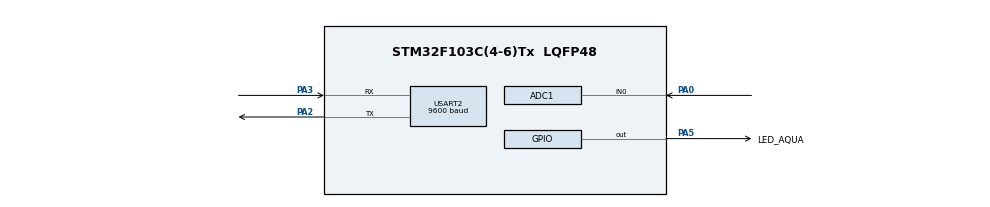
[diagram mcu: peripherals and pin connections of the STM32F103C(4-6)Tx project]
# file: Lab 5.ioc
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ADC1.Channel-0\#ChannelRegularConversion=ADC_CHANNEL_0
ADC1.ContinuousConvMode=ENABLE
ADC1.NbrOfConversionFlag=1
ADC1.Rank-0\#ChannelRegularConversion=1
ADC1.SamplingTime-0\#ChannelRegularConversion=ADC_SAMPLETIME_1CYCLE_5
ADC1.master=1
Mcu.Family=STM32F1
Mcu.Name=STM32F103C(4-6)Tx
Mcu.Package=LQFP48
NVIC.PriorityGroup=NVIC_PRIORITYGROUP_4
NVIC.USART2_IRQn=true\:0\:0\:false\:false\:true\:true\:true\:true
PA0-WKUP.Signal=ADCx_IN0
PA2.Mode=Asynchronous
PA2.Signal=USART2_TX
PA3.Mode=Asynchronous
PA3.Signal=USART2_RX
PA5.GPIO_Label=LED_AQUA
PA5.Signal=GPIO_Output
ProjectManager.HeapSize=0x200
ProjectManager.StackSize=0x400
ProjectManager.TargetToolchain=STM32CubeIDE
RCC.APB1Freq_Value=8000000
RCC.APB2Freq_Value=8000000
SH.ADCx_IN0.0=ADC1_IN0,IN0
USART2.BaudRate=9600
USART2.VirtualMode=VM_ASYNC
VP_SYS_VS_ND.Mode=No_Debug
board=custom

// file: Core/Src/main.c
/* USER CODE BEGIN Header */
/**
  ******************************************************************************
  * @file           : main.c
  * @brief          : Main program body
  ******************************************************************************
  * @attention
  *
  * Copyright (c) 2025 STMicroelectronics.
  * All rights reserved.
  *
  * This software is licensed under terms that can be found in the LICENSE file
  * in the root directory of this software component.
  * If no LICENSE file comes with this software, it is provided AS-IS.
  *
  ******************************************************************************
  */
/* USER CODE END Header */
#include "main.h"

/* USER CODE BEGIN Includes */

#include <string.h>
#include <stdio.h>
#include "cmd_handler.h"

/* USER CODE END Includes */

/* USER CODE BEGIN PD */

#define MAX_BUFFER_SIZE 30

/* USER CODE END PD */

ADC_HandleTypeDef hadc1;

UART_HandleTypeDef huart2;

/* USER CODE BEGIN PV */
// Initialize local variables
uint8_t temp = 0;                      // Variable for UART data reception
uint8_t buffer[MAX_BUFFER_SIZE];       // Buffer for received data
uint8_t index_buffer = 0;              // Index for the received data
uint8_t buffer_flag = 0;               // Flag indicating new data in buffer

/* USER CODE END PV */

void SystemClock_Config(void);
static void MX_GPIO_Init(void);
static void MX_ADC1_Init(void);
static void MX_USART2_UART_Init(void);
/* USER CODE BEGIN PFP */

void sys_init(void);

/* USER CODE END PFP */

/* USER CODE BEGIN 0 */

void sys_init(void) {
	HAL_GPIO_WritePin(LED_AQUA_GPIO_Port, LED_AQUA_Pin, GPIO_PIN_SET);
}

void HAL_UART_RxCpltCallback(UART_HandleTypeDef *huart) {
    if (huart->Instance == USART2) {
        HAL_UART_Transmit(&huart2, &temp, 1, 100);  // Echo back received character
        buffer[index_buffer++] = temp;  // Store received character into buffer
        if (index_buffer >= MAX_BUFFER_SIZE) {
            index_buffer = 0;  // Avoid buffer overflow
        }

        buffer_flag = 1;  // Indicate that new data is available
        HAL_UART_Receive_IT(&huart2, &temp, 1);  // Continue receiving data
    }
}

/* USER CODE END 0 */

int main(void)
{

  /* MCU Configuration--------------------------------------------------------*/

  /* Reset of all peripherals, Initializes the Flash interface and the Systick. */
  HAL_Init();

  /* Configure the system clock */
  SystemClock_Config();

  /* Initialize all configured peripherals */
  MX_GPIO_Init();
  MX_ADC1_Init();
  MX_USART2_UART_Init();
  /* USER CODE BEGIN 2 */
  HAL_ADC_Start(&hadc1);
  HAL_UART_Receive_IT(&huart2, &temp, 1);
  /* USER CODE END 2 */

  /* Infinite loop */
  /* USER CODE BEGIN WHILE */
  sys_init();
  while (1)
  {
    /* USER CODE END WHILE */

    /* USER CODE BEGIN 3 */
	  if(buffer_flag == 1){
		  command_parser_fsm();
		  buffer_flag = 0;
	  }

	  uart_communication_fsm();
  }
  /* USER CODE END 3 */
}

void SystemClock_Config(void)
{
  RCC_OscInitTypeDef RCC_OscInitStruct = {0};
  RCC_ClkInitTypeDef RCC_ClkInitStruct = {0};
  RCC_PeriphCLKInitTypeDef PeriphClkInit = {0};

  /** Initializes the RCC Oscillators according to the specified parameters
  * in the RCC_OscInitTypeDef structure.
  */
  RCC_OscInitStruct.OscillatorType = RCC_OSCILLATORTYPE_HSI;
  RCC_OscInitStruct.HSIState = RCC_HSI_ON;
  RCC_OscInitStruct.HSICalibrationValue = RCC_HSICALIBRATION_DEFAULT;
  RCC_OscInitStruct.PLL.PLLState = RCC_PLL_NONE;
  if (HAL_RCC_OscConfig(&RCC_OscInitStruct) != HAL_OK)
  {
    Error_Handler();
  }

  /** Initializes the CPU, AHB and APB buses clocks
  */
  RCC_ClkInitStruct.ClockType = RCC_CLOCKTYPE_HCLK|RCC_CLOCKTYPE_SYSCLK
                              |RCC_CLOCKTYPE_PCLK1|RCC_CLOCKTYPE_PCLK2;
  RCC_ClkInitStruct.SYSCLKSource = RCC_SYSCLKSOURCE_HSI;
  RCC_ClkInitStruct.AHBCLKDivider = RCC_SYSCLK_DIV1;
  RCC_ClkInitStruct.APB1CLKDivider = RCC_HCLK_DIV1;
  RCC_ClkInitStruct.APB2CLKDivider = RCC_HCLK_DIV1;

  if (HAL_RCC_ClockConfig(&RCC_ClkInitStruct, FLASH_LATENCY_0) != HAL_OK)
  {
    Error_Handler();
  }
  PeriphClkInit.PeriphClockSelection = RCC_PERIPHCLK_ADC;
  PeriphClkInit.AdcClockSelection = RCC_ADCPCLK2_DIV2;
  if (HAL_RCCEx_PeriphCLKConfig(&PeriphClkInit) != HAL_OK)
  {
    Error_Handler();
  }
}

static void MX_ADC1_Init(void)
{

  ADC_ChannelConfTypeDef sConfig = {0};

  /** Common config
  */
  hadc1.Instance = ADC1;
  hadc1.Init.ScanConvMode = ADC_SCAN_DISABLE;
  hadc1.Init.ContinuousConvMode = ENABLE;
  hadc1.Init.DiscontinuousConvMode = DISABLE;
  hadc1.Init.ExternalTrigConv = ADC_SOFTWARE_START;
  hadc1.Init.DataAlign = ADC_DATAALIGN_RIGHT;
  hadc1.Init.NbrOfConversion = 1;
  if (HAL_ADC_Init(&hadc1) != HAL_OK)
  {
    Error_Handler();
  }

  /** Configure Regular Channel
  */
  sConfig.Channel = ADC_CHANNEL_0;
  sConfig.Rank = ADC_REGULAR_RANK_1;
  sConfig.SamplingTime = ADC_SAMPLETIME_1CYCLE_5;
  if (HAL_ADC_ConfigChannel(&hadc1, &sConfig) != HAL_OK)
  {
    Error_Handler();
  }

}

static void MX_USART2_UART_Init(void)
{

  huart2.Instance = USART2;
  huart2.Init.BaudRate = 9600;
  huart2.Init.WordLength = UART_WORDLENGTH_8B;
  huart2.Init.StopBits = UART_STOPBITS_1;
  huart2.Init.Parity = UART_PARITY_NONE;
  huart2.Init.Mode = UART_MODE_TX_RX;
  huart2.Init.HwFlowCtl = UART_HWCONTROL_NONE;
  huart2.Init.OverSampling = UART_OVERSAMPLING_16;
  if (HAL_UART_Init(&huart2) != HAL_OK)
  {
    Error_Handler();
  }

}

static void MX_GPIO_Init(void)
{
  GPIO_InitTypeDef GPIO_InitStruct = {0};

  /* GPIO Ports Clock Enable */
  __HAL_RCC_GPIOA_CLK_ENABLE();

  /*Configure GPIO pin Output Level */
  HAL_GPIO_WritePin(LED_AQUA_GPIO_Port, LED_AQUA_Pin, GPIO_PIN_RESET);

  /*Configure GPIO pin : LED_AQUA_Pin */
  GPIO_InitStruct.Pin = LED_AQUA_Pin;
  GPIO_InitStruct.Mode = GPIO_MODE_OUTPUT_PP;
  GPIO_InitStruct.Pull = GPIO_NOPULL;
  GPIO_InitStruct.Speed = GPIO_SPEED_FREQ_LOW;
  HAL_GPIO_Init(LED_AQUA_GPIO_Port, &GPIO_InitStruct);

}

void Error_Handler(void)
{
  __disable_irq();
  while (1)
  {
  }
}
